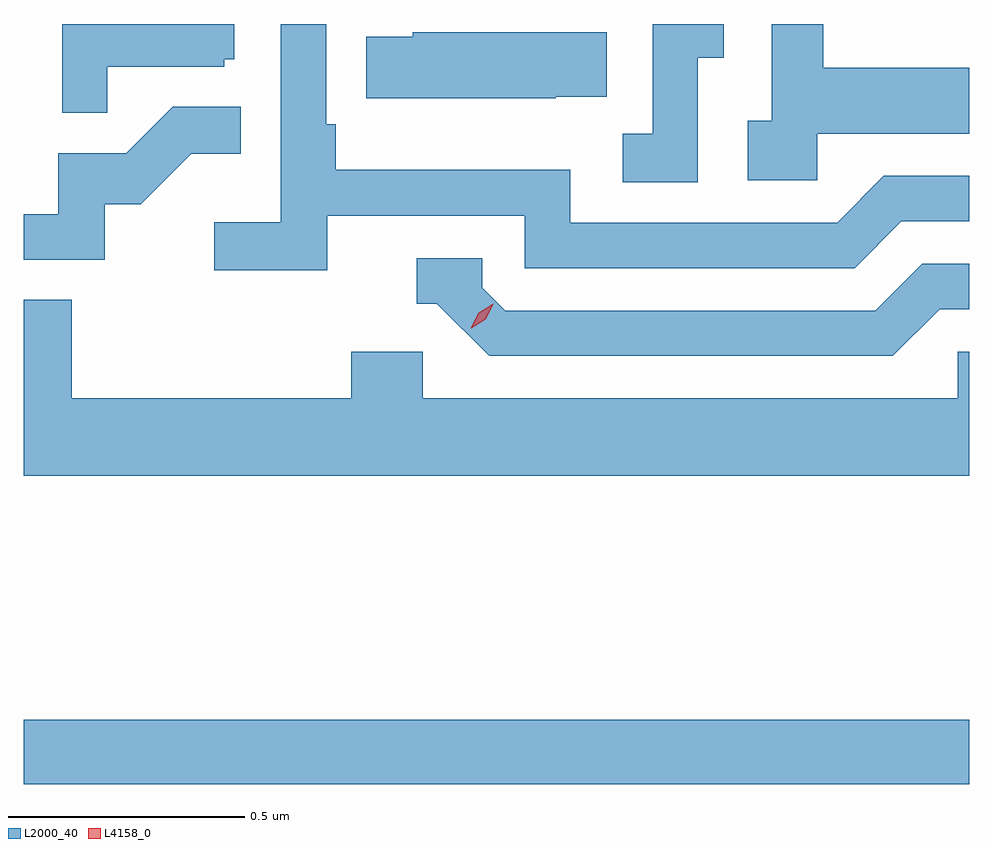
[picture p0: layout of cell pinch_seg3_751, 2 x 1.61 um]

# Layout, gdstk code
import gdstk
lib = gdstk.Library(unit=1e-6, precision=1e-09)
def R(c, l, rs):  # rectangles x0, y0, x1, y1
    for r in rs: c.add(gdstk.rectangle(r[:2], r[2:], *l))
def P(c, l, *ps):  # polygons
    for p in ps: c.add(gdstk.Polygon(p, *l))
L2000_40 = (2000, 40)
L4158_0 = (4158, 0)

pinch_seg3_751 = lib.new_cell('pinch_seg3_751')
R(pinch_seg3_751, L2000_40, [(867.908,745.552,869.908,745.688)])
P(pinch_seg3_751, L2000_40, [(868.085,747.069),(868.332,747.069),(868.332,747.084),(868.354,747.084),(868.354,747.159),(867.99,747.159),(867.99,746.971),(868.085,746.971)],
  [(869.586,746.927),(869.908,746.927),(869.908,747.067),(869.599,747.067),(869.599,747.159),(869.49,747.159),(869.49,746.954),(869.439,746.954),(869.439,746.829),(869.586,746.829)],
  [(869.334,747.088),(869.389,747.088),(869.389,747.159),(869.238,747.159),(869.238,746.927),(869.175,746.927),(869.175,746.824),(869.334,746.824)],
  [(868.55,746.754),(868.968,746.754),(868.968,746.643),(869.665,746.643),(869.764,746.742),(869.908,746.742),(869.908,746.838),(869.727,746.838),(869.628,746.739),(869.064,746.739),(869.064,746.851),(868.568,746.851),(868.568,746.947),(868.548,746.947),(868.548,747.159),(868.452,747.159),(868.452,746.74),(868.311,746.74),(868.311,746.638),(868.55,746.638)],
  [(869.033,747.005),(869.141,747.005),(869.141,747.142),(868.731,747.142),(868.731,747.132),(868.633,747.132),(868.633,747.002),(869.033,747.002)],
  [(868.08,746.778),(868.156,746.778),(868.263,746.885),(868.367,746.885),(868.367,746.984),(868.223,746.984),(868.125,746.886),(867.981,746.886),(867.981,746.757),(867.908,746.757),(867.908,746.661),(868.08,746.661)],
  [(869.845,746.556),(869.908,746.556),(869.908,746.652),(869.808,746.652),(869.709,746.553),(868.926,746.553),(868.878,746.601),(868.878,746.664),(868.739,746.664),(868.739,746.568),(868.782,746.568),(868.893,746.457),(869.746,746.457)],
  [(869.908,746.466),(869.883,746.466),(869.883,746.368),(868.752,746.368),(868.752,746.466),(868.601,746.466),(868.601,746.368),(868.01,746.368),(868.01,746.576),(867.908,746.576),(867.908,746.204),(869.908,746.204)])
P(pinch_seg3_751, L4158_0, [(868.854,746.516),(868.854,746.516),(868.87,746.548),(868.901,746.568),(868.901,746.568),(868.901,746.567),(868.885,746.535),(868.855,746.516)])

lib.write_gds('pinch_seg3_751.gds')
